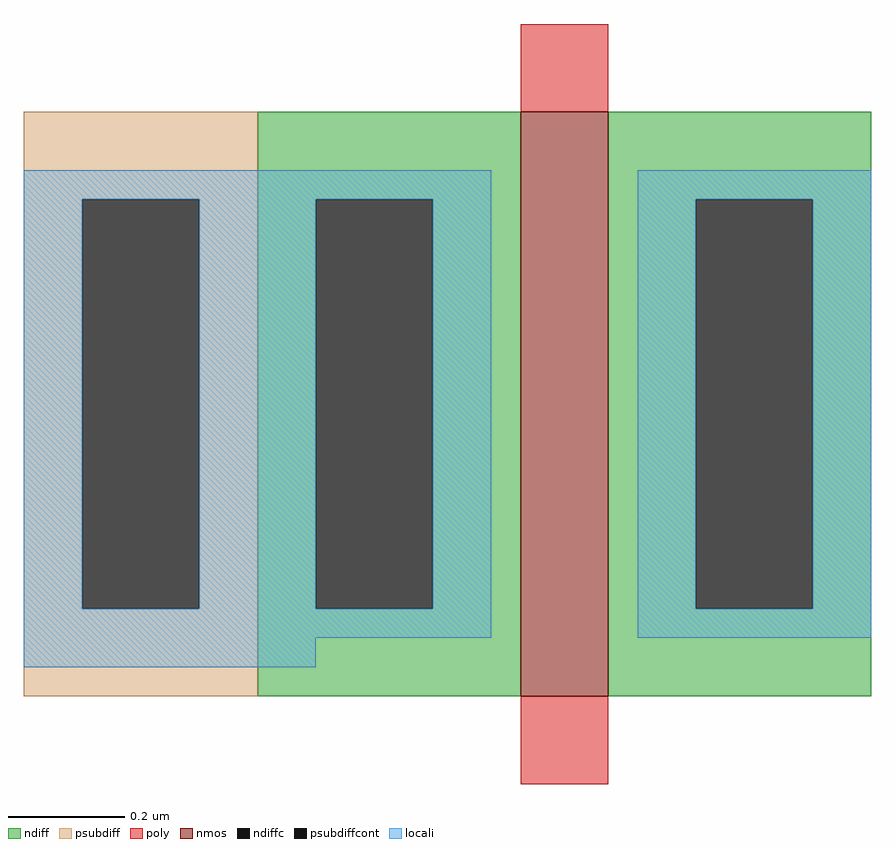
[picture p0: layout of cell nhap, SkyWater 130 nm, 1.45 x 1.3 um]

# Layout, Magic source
magic
tech sky130A
<< nmos >>
rect 0 0 15 100
<< ndiff >>
rect -45 85 0 100
rect -45 15 -35 85
rect -15 15 0 85
rect -45 0 0 15
rect 15 85 60 100
rect 15 15 30 85
rect 50 15 60 85
rect 15 0 60 15
<< ndiffc >>
rect -35 15 -15 85
rect 30 15 50 85
<< psubdiff >>
rect -85 85 -45 100
rect -85 15 -75 85
rect -55 15 -45 85
rect -85 0 -45 15
<< psubdiffcont >>
rect -75 15 -55 85
<< poly >>
rect 0 100 15 115
rect 0 -15 15 0
<< locali >>
rect -85 85 -5 90
rect -85 15 -75 85
rect -55 15 -35 85
rect -15 15 -5 85
rect -85 10 -5 15
rect 20 85 60 90
rect 20 15 30 85
rect 50 15 60 85
rect 20 10 60 15
rect -85 5 -35 10
<< end >>
